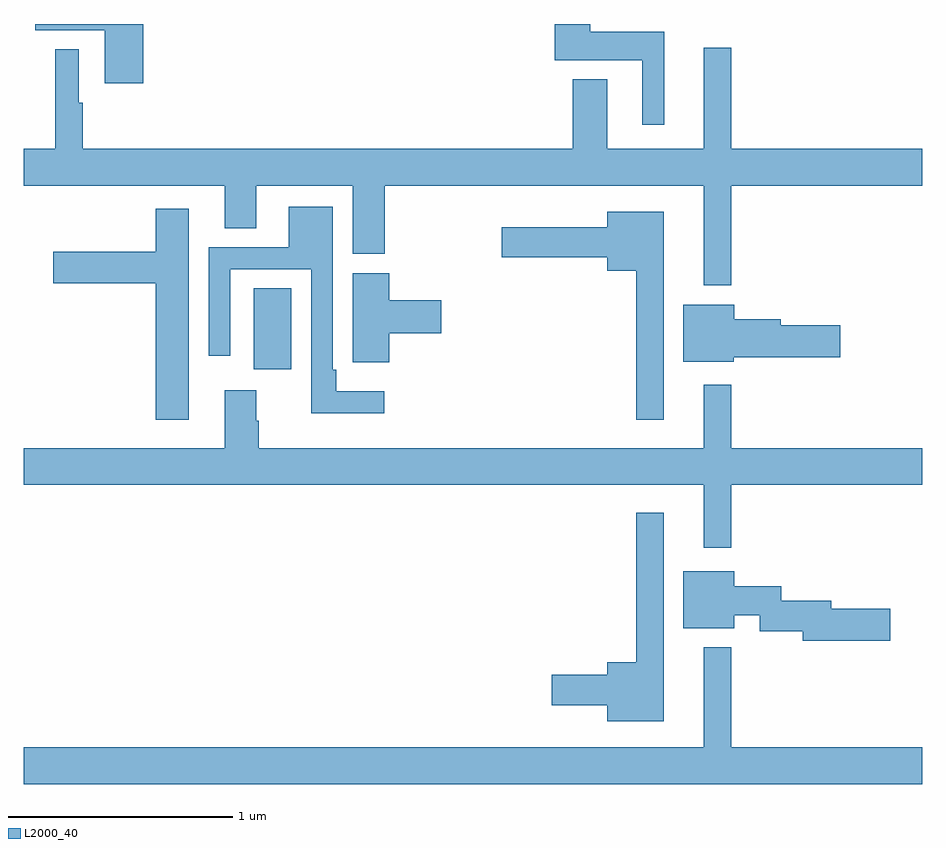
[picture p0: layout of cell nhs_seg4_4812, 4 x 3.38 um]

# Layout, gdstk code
import gdstk
lib = gdstk.Library(unit=1e-6, precision=1e-09)
def R(c, l, rs):  # rectangles x0, y0, x1, y1
    for r in rs: c.add(gdstk.rectangle(r[:2], r[2:], *l))
def P(c, l, *ps):  # polygons
    for p in ps: c.add(gdstk.Polygon(p, *l))
L2000_40 = (2000, 40)

nhs_seg4_4812 = lib.new_cell('nhs_seg4_4812')
R(nhs_seg4_4812, L2000_40, [(372.023,769.362,372.19,769.724)])
P(nhs_seg4_4812, L2000_40, [(371.531,770.9),(371.051,770.9),(371.051,770.873),(371.36,770.873),(371.36,770.637),(371.531,770.637)],
  [(373.852,770.866),(373.522,770.866),(373.522,770.9),(373.364,770.9),(373.364,770.738),(373.754,770.738),(373.754,770.451),(373.852,770.451)],
  [(374.149,770.18),(375,770.18),(375,770.344),(374.149,770.344),(374.149,770.794),(374.027,770.794),(374.027,770.344),(373.597,770.344),(373.597,770.653),(373.445,770.653),(373.445,770.344),(371.263,770.344),(371.263,770.549),(371.245,770.549),(371.245,770.788),(371.141,770.788),(371.141,770.344),(371,770.344),(371,770.18),(371.894,770.18),(371.894,769.99),(372.034,769.99),(372.034,770.18),(372.464,770.18),(372.464,769.876),(372.608,769.876),(372.608,770.18),(374.027,770.18),(374.027,769.736),(374.149,769.736)],
  [(372.604,769.264),(372.391,769.264),(372.391,769.36),(372.375,769.36),(372.375,770.086),(372.179,770.086),(372.179,769.905),(371.823,769.905),(371.823,769.422),(371.919,769.422),(371.919,769.809),(372.279,769.809),(372.279,769.166),(372.604,769.166)],
  [(371.734,770.077),(371.588,770.077),(371.588,769.887),(371.13,769.887),(371.13,769.745),(371.588,769.745),(371.588,769.137),(371.734,769.137)],
  [(373.849,770.065),(373.598,770.065),(373.598,769.996),(373.128,769.996),(373.128,769.862),(373.598,769.862),(373.598,769.802),(373.728,769.802),(373.728,769.137),(373.849,769.137)],
  [(372.626,769.523),(372.859,769.523),(372.859,769.67),(372.626,769.67),(372.626,769.791),(372.464,769.791),(372.464,769.507),(372.465,769.507),(372.465,769.395),(372.626,769.395)],
  [(374.16,769.417),(374.635,769.417),(374.635,769.559),(374.37,769.559),(374.37,769.586),(374.164,769.586),(374.164,769.651),(373.937,769.651),(373.937,769.397),(374.16,769.397)],
  [(374.149,768.848),(375,768.848),(375,769.012),(374.149,769.012),(374.149,769.294),(374.027,769.294),(374.027,769.012),(372.047,769.012),(372.047,769.133),(372.034,769.133),(372.034,769.27),(371.894,769.27),(371.894,769.012),(371,769.012),(371,768.848),(374.027,768.848),(374.027,768.567),(374.149,768.567)],
  [(373.849,768.724),(373.728,768.724),(373.728,768.058),(373.598,768.058),(373.598,768.002),(373.35,768.002),(373.35,767.867),(373.598,767.867),(373.598,767.795),(373.849,767.795)],
  [(374.857,768.296),(374.596,768.296),(374.596,768.332),(374.373,768.332),(374.373,768.397),(374.164,768.397),(374.164,768.463),(373.937,768.463),(373.937,768.209),(374.164,768.209),(374.164,768.268),(374.277,768.268),(374.277,768.196),(374.468,768.196),(374.468,768.154),(374.857,768.154)],
  [(375,767.68),(374.149,767.68),(374.149,768.124),(374.027,768.124),(374.027,767.68),(371,767.68),(371,767.516),(375,767.516)])

lib.write_gds('nhs_seg4_4812.gds')
